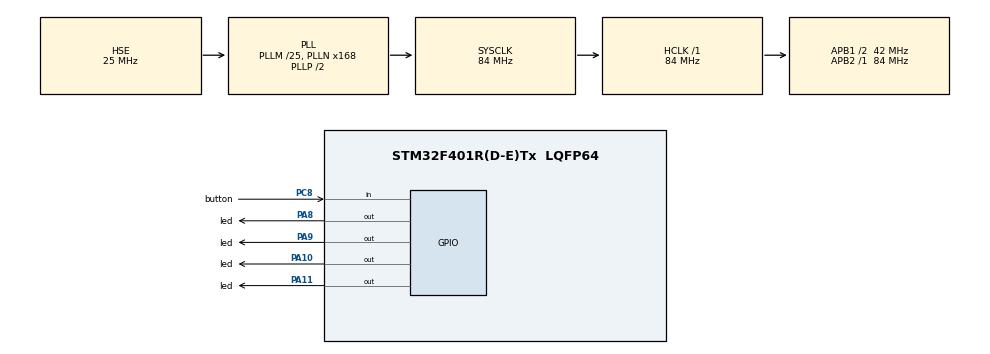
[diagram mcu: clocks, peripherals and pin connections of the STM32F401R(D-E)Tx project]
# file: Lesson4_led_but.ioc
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Mcu.Family=STM32F4
Mcu.Name=STM32F401R(D-E)Tx
Mcu.Package=LQFP64
NVIC.PriorityGroup=NVIC_PRIORITYGROUP_4
PA10.GPIO_Label=led
PA10.Signal=GPIO_Output
PA11.GPIO_Label=led
PA11.Signal=GPIO_Output
PA13.Mode=Serial_Wire
PA13.Signal=SYS_JTMS-SWDIO
PA14.Mode=Serial_Wire
PA14.Signal=SYS_JTCK-SWCLK
PA8.GPIO_Label=led
PA8.Signal=GPIO_Output
PA9.GPIO_Label=led
PA9.Signal=GPIO_Output
PC8.GPIO_Label=button
PC8.Signal=GPIO_Input
PH0\ -\ OSC_IN.Mode=HSE-External-Oscillator
PH0\ -\ OSC_IN.Signal=RCC_OSC_IN
PH1\ -\ OSC_OUT.Mode=HSE-External-Oscillator
PH1\ -\ OSC_OUT.Signal=RCC_OSC_OUT
ProjectManager.HeapSize=0x200
ProjectManager.StackSize=0x400
ProjectManager.TargetToolchain=STM32CubeIDE
RCC.48MHZClocksFreq_Value=42000000
RCC.AHBFreq_Value=84000000
RCC.APB1CLKDivider=RCC_HCLK_DIV2
RCC.APB1Freq_Value=42000000
RCC.APB1TimFreq_Value=84000000
RCC.APB2Freq_Value=84000000
RCC.APB2TimFreq_Value=84000000
RCC.CortexFreq_Value=84000000
RCC.HCLKFreq_Value=84000000
RCC.HSE_VALUE=25000000
RCC.HSI_VALUE=16000000
RCC.LSE_VALUE=32768
RCC.PLLM=25
RCC.PLLN=168
RCC.PLLSourceVirtual=RCC_PLLSOURCE_HSE
RCC.SYSCLKFreq_VALUE=84000000
RCC.SYSCLKSource=RCC_SYSCLKSOURCE_PLLCLK
RCC.VCOOutputFreq_Value=168000000
board=custom

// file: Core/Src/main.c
/* USER CODE BEGIN Header */
/**
  ******************************************************************************
  * @file           : main.c
  * @brief          : Main program body
  ******************************************************************************
  * @attention
  *
  * Copyright (c) 2024 STMicroelectronics.
  * All rights reserved.
  *
  * This software is licensed under terms that can be found in the LICENSE file
  * in the root directory of this software component.
  * If no LICENSE file comes with this software, it is provided AS-IS.
  *
  ******************************************************************************
  */
/* USER CODE END Header */
#include "main.h"

void SystemClock_Config(void);
static void MX_GPIO_Init(void);

int main(void)
{

  /* MCU Configuration--------------------------------------------------------*/

  /* Reset of all peripherals, Initializes the Flash interface and the Systick. */
  HAL_Init();

  /* Configure the system clock */
  SystemClock_Config();

  /* Initialize all configured peripherals */
  MX_GPIO_Init();

  /* Infinite loop */
  /* USER CODE BEGIN WHILE */
  while (1)
  {
	if (HAL_GPIO_ReadPin(GPIOC, GPIO_PIN_8) == GPIO_PIN_SET){
	  HAL_GPIO_TogglePin(GPIOA, GPIO_PIN_8);
	  HAL_Delay(50);
	  HAL_GPIO_TogglePin(GPIOA, GPIO_PIN_8);
	  HAL_GPIO_TogglePin(GPIOA, GPIO_PIN_9);
	  HAL_Delay(50);
	  HAL_GPIO_TogglePin(GPIOA, GPIO_PIN_9);
	  HAL_GPIO_TogglePin(GPIOA, GPIO_PIN_10);
	  HAL_Delay(50);
	  HAL_GPIO_TogglePin(GPIOA, GPIO_PIN_10);
	  HAL_GPIO_TogglePin(GPIOA, GPIO_PIN_11);
	  HAL_Delay(50);
	  HAL_GPIO_TogglePin(GPIOA, GPIO_PIN_11);
	  HAL_GPIO_TogglePin(GPIOA, GPIO_PIN_10);
	  HAL_Delay(50);
	  HAL_GPIO_TogglePin(GPIOA, GPIO_PIN_10);
	  HAL_GPIO_TogglePin(GPIOA, GPIO_PIN_9);
	  HAL_Delay(50);
	  HAL_GPIO_TogglePin(GPIOA, GPIO_PIN_9);
	  HAL_GPIO_TogglePin(GPIOA, GPIO_PIN_8);
	  HAL_Delay(50);
	  HAL_GPIO_TogglePin(GPIOA, GPIO_PIN_8);
	  HAL_Delay(50);

	  }
	  else HAL_GPIO_WritePin(GPIOA, GPIO_PIN_8|GPIO_PIN_9|GPIO_PIN_10|GPIO_PIN_11, GPIO_PIN_RESET);
    /* USER CODE END WHILE */

  }
}

void SystemClock_Config(void)
{
  RCC_OscInitTypeDef RCC_OscInitStruct = {0};
  RCC_ClkInitTypeDef RCC_ClkInitStruct = {0};

  /** Configure the main internal regulator output voltage
  */
  __HAL_RCC_PWR_CLK_ENABLE();
  __HAL_PWR_VOLTAGESCALING_CONFIG(PWR_REGULATOR_VOLTAGE_SCALE2);

  /** Initializes the RCC Oscillators according to the specified parameters
  * in the RCC_OscInitTypeDef structure.
  */
  RCC_OscInitStruct.OscillatorType = RCC_OSCILLATORTYPE_HSE;
  RCC_OscInitStruct.HSEState = RCC_HSE_ON;
  RCC_OscInitStruct.PLL.PLLState = RCC_PLL_ON;
  RCC_OscInitStruct.PLL.PLLSource = RCC_PLLSOURCE_HSE;
  RCC_OscInitStruct.PLL.PLLM = 25;
  RCC_OscInitStruct.PLL.PLLN = 168;
  RCC_OscInitStruct.PLL.PLLP = RCC_PLLP_DIV2;
  RCC_OscInitStruct.PLL.PLLQ = 4;
  if (HAL_RCC_OscConfig(&RCC_OscInitStruct) != HAL_OK)
  {
    Error_Handler();
  }

  /** Initializes the CPU, AHB and APB buses clocks
  */
  RCC_ClkInitStruct.ClockType = RCC_CLOCKTYPE_HCLK|RCC_CLOCKTYPE_SYSCLK
                              |RCC_CLOCKTYPE_PCLK1|RCC_CLOCKTYPE_PCLK2;
  RCC_ClkInitStruct.SYSCLKSource = RCC_SYSCLKSOURCE_PLLCLK;
  RCC_ClkInitStruct.AHBCLKDivider = RCC_SYSCLK_DIV1;
  RCC_ClkInitStruct.APB1CLKDivider = RCC_HCLK_DIV2;
  RCC_ClkInitStruct.APB2CLKDivider = RCC_HCLK_DIV1;

  if (HAL_RCC_ClockConfig(&RCC_ClkInitStruct, FLASH_LATENCY_2) != HAL_OK)
  {
    Error_Handler();
  }
}

static void MX_GPIO_Init(void)
{
  GPIO_InitTypeDef GPIO_InitStruct = {0};

  /* GPIO Ports Clock Enable */
  __HAL_RCC_GPIOH_CLK_ENABLE();
  __HAL_RCC_GPIOC_CLK_ENABLE();
  __HAL_RCC_GPIOA_CLK_ENABLE();

  /*Configure GPIO pin Output Level */
  HAL_GPIO_WritePin(GPIOA, led_Pin|ledA9_Pin|ledA10_Pin|ledA11_Pin, GPIO_PIN_RESET);

  /*Configure GPIO pin : button_Pin */
  GPIO_InitStruct.Pin = button_Pin;
  GPIO_InitStruct.Mode = GPIO_MODE_INPUT;
  GPIO_InitStruct.Pull = GPIO_NOPULL;
  HAL_GPIO_Init(button_GPIO_Port, &GPIO_InitStruct);

  /*Configure GPIO pins : led_Pin ledA9_Pin ledA10_Pin ledA11_Pin */
  GPIO_InitStruct.Pin = led_Pin|ledA9_Pin|ledA10_Pin|ledA11_Pin;
  GPIO_InitStruct.Mode = GPIO_MODE_OUTPUT_PP;
  GPIO_InitStruct.Pull = GPIO_NOPULL;
  GPIO_InitStruct.Speed = GPIO_SPEED_FREQ_LOW;
  HAL_GPIO_Init(GPIOA, &GPIO_InitStruct);

}

void Error_Handler(void)
{
  __disable_irq();
  while (1)
  {
  }
}
